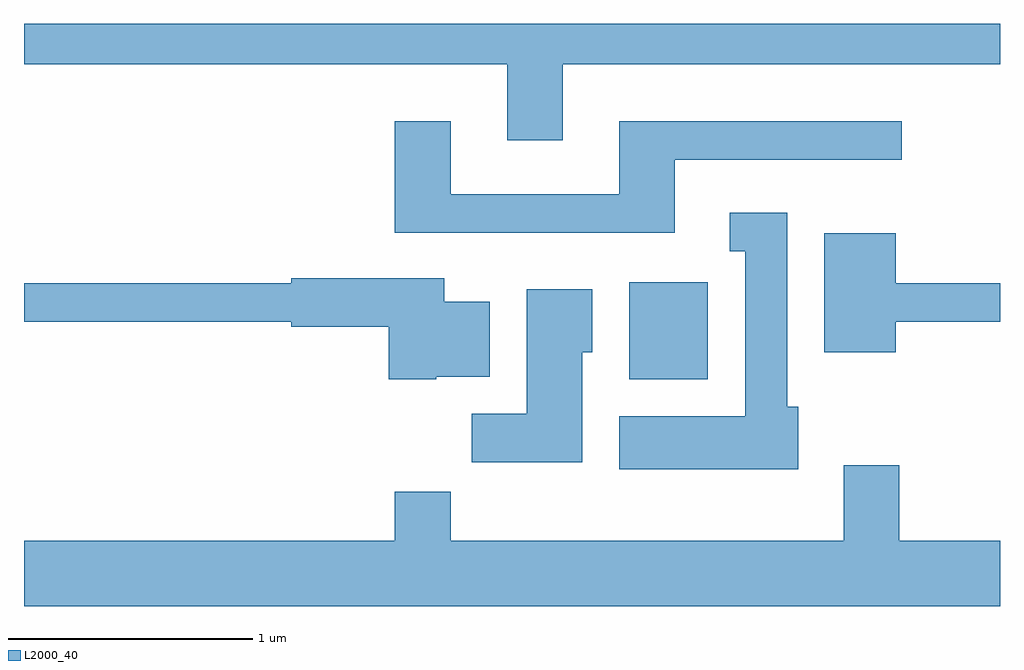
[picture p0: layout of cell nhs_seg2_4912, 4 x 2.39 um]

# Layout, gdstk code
import gdstk
lib = gdstk.Library(unit=1e-6, precision=1e-09)
def R(c, l, rs):  # rectangles x0, y0, x1, y1
    for r in rs: c.add(gdstk.rectangle(r[:2], r[2:], *l))
def P(c, l, *ps):  # polygons
    for p in ps: c.add(gdstk.Polygon(p, *l))
L2000_40 = (2000, 40)

nhs_seg2_4912 = lib.new_cell('nhs_seg2_4912')
R(nhs_seg2_4912, L2000_40, [(332.091,1060.346,332.414,1060.744)])
P(nhs_seg2_4912, L2000_40, [(331.819,1061.636),(333.611,1061.636),(333.611,1061.802),(329.611,1061.802),(329.611,1061.636),(331.591,1061.636),(331.591,1061.326),(331.819,1061.326)],
  [(332.279,1061.246),(333.208,1061.246),(333.208,1061.404),(332.051,1061.404),(332.051,1061.104),(331.359,1061.104),(331.359,1061.404),(331.131,1061.404),(331.131,1060.946),(332.279,1060.946)],
  [(332.784,1060.234),(332.739,1060.234),(332.739,1061.029),(332.503,1061.029),(332.503,1060.871),(332.566,1060.871),(332.566,1060.194),(332.051,1060.194),(332.051,1059.976),(332.784,1059.976)],
  [(333.184,1060.581),(333.611,1060.581),(333.611,1060.739),(333.184,1060.739),(333.184,1060.944),(332.891,1060.944),(332.891,1060.456),(333.184,1060.456)],
  [(331.3,1060.356),(331.519,1060.356),(331.519,1060.664),(331.334,1060.664),(331.334,1060.759),(330.706,1060.759),(330.706,1060.739),(329.611,1060.739),(329.611,1060.581),(330.706,1060.581),(330.706,1060.561),(331.106,1060.561),(331.106,1060.346),(331.3,1060.346)],
  [(331.899,1060.456),(331.939,1060.456),(331.939,1060.714),(331.671,1060.714),(331.671,1060.204),(331.446,1060.204),(331.446,1060.006),(331.899,1060.006)],
  [(333.611,1059.684),(333.199,1059.684),(333.199,1059.994),(332.971,1059.994),(332.971,1059.684),(331.359,1059.684),(331.359,1059.884),(331.131,1059.884),(331.131,1059.684),(329.611,1059.684),(329.611,1059.416),(333.611,1059.416)])

lib.write_gds('nhs_seg2_4912.gds')
